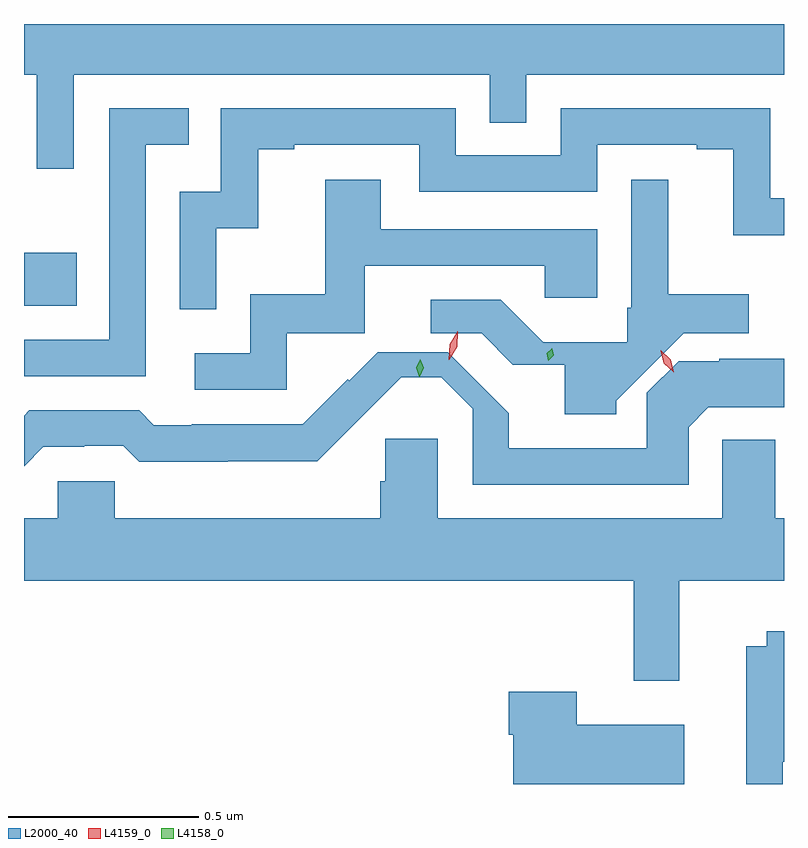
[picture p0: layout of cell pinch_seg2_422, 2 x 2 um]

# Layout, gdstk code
import gdstk
lib = gdstk.Library(unit=1e-6, precision=1e-09)
def R(c, l, rs):  # rectangles x0, y0, x1, y1
    for r in rs: c.add(gdstk.rectangle(r[:2], r[2:], *l))
def P(c, l, *ps):  # polygons
    for p in ps: c.add(gdstk.Polygon(p, *l))
L2000_40 = (2000, 40)
L4158_0 = (4158, 0)
L4159_0 = (4159, 0)

pinch_seg2_422 = lib.new_cell('pinch_seg2_422')
R(pinch_seg2_422, L2000_40, [(997.444,608.399,997.583,608.539)])
P(pinch_seg2_422, L2000_40, [(997.575,609.008),(998.67,609.008),(998.67,608.881),(998.766,608.881),(998.766,609.008),(999.444,609.008),(999.444,609.141),(997.444,609.141),(997.444,609.008),(997.478,609.008),(997.478,608.76),(997.575,608.76)],
  [(997.95,608.603),(998.06,608.603),(998.06,608.811),(998.155,608.811),(998.155,608.823),(998.484,608.823),(998.484,608.7),(998.952,608.7),(998.952,608.823),(999.215,608.823),(999.215,608.811),(999.311,608.811),(999.311,608.585),(999.444,608.585),(999.444,608.683),(999.408,608.683),(999.408,608.919),(998.856,608.919),(998.856,608.796),(998.58,608.796),(998.58,608.919),(997.962,608.919),(997.962,608.7),(997.854,608.7),(997.854,608.391),(997.95,608.391)],
  [(997.764,608.823),(997.877,608.823),(997.877,608.919),(997.668,608.919),(997.668,608.31),(997.444,608.31),(997.444,608.214),(997.764,608.214)],
  [(998.136,608.327),(998.341,608.327),(998.341,608.505),(998.815,608.505),(998.815,608.42),(998.953,608.42),(998.953,608.601),(998.383,608.601),(998.383,608.731),(998.237,608.731),(998.237,608.43),(998.04,608.43),(998.04,608.274),(997.893,608.274),(997.893,608.178),(998.136,608.178)],
  [(999.002,608.149),(999.18,608.327),(999.351,608.327),(999.351,608.43),(999.139,608.43),(999.139,608.731),(999.042,608.731),(999.042,608.394),(999.031,608.394),(999.031,608.303),(998.811,608.303),(998.698,608.415),(998.514,608.415),(998.514,608.327),(998.648,608.327),(998.73,608.244),(998.867,608.244),(998.867,608.114),(999.002,608.114)],
  [(999.193,608.08),(999.245,608.132),(999.444,608.132),(999.444,608.26),(999.273,608.26),(999.273,608.254),(999.167,608.254),(999.083,608.17),(999.083,608.025),(998.72,608.025),(998.72,608.117),(998.559,608.277),(998.375,608.277),(998.3,608.202),(998.296,608.206),(998.178,608.088),(997.885,608.088),(997.885,608.085),(997.786,608.085),(997.747,608.124),(997.458,608.124),(997.444,608.11),(997.444,607.977),(997.495,608.028),(997.602,608.028),(997.602,608.031),(997.705,608.031),(997.747,607.989),(997.98,607.989),(997.98,607.991),(998.216,607.991),(998.437,608.212),(998.542,608.212),(998.625,608.129),(998.625,607.929),(999.193,607.929)],
  [(999.168,607.676),(999.444,607.676),(999.444,607.84),(999.421,607.84),(999.421,608.047),(999.282,608.047),(999.282,607.84),(998.533,607.84),(998.533,608.049),(998.395,608.049),(998.395,607.938),(998.381,607.938),(998.381,607.84),(997.683,607.84),(997.683,607.938),(997.533,607.938),(997.533,607.84),(997.444,607.84),(997.444,607.676),(999.049,607.676),(999.049,607.413),(999.168,607.413)],
  [(999.441,607.199),(999.444,607.199),(999.444,607.543),(999.398,607.543),(999.398,607.504),(999.344,607.504),(999.344,607.141),(999.441,607.141)],
  [(999.181,607.297),(998.898,607.297),(998.898,607.384),(998.72,607.384),(998.72,607.271),(998.732,607.271),(998.732,607.141),(999.181,607.141)])
P(pinch_seg2_422, L4158_0, [(998.824,608.255),(998.824,608.255),(998.819,608.274),(998.833,608.287),(998.833,608.288),(998.834,608.287),(998.838,608.269),(998.824,608.255)],
  [(998.484,608.213),(998.484,608.213),(998.476,608.237),(998.487,608.259),(998.487,608.259),(998.487,608.259),(998.496,608.236),(998.485,608.213)])
P(pinch_seg2_422, L4159_0, [(999.154,608.225),(999.154,608.225),(999.128,608.248),(999.12,608.281),(999.12,608.282),(999.12,608.282),(999.146,608.258),(999.154,608.225)],
  [(998.562,608.258),(998.565,608.298),(998.586,608.333),(998.586,608.333),(998.586,608.332),(998.584,608.292),(998.563,608.258),(998.563,608.258)])

lib.write_gds('pinch_seg2_422.gds')
